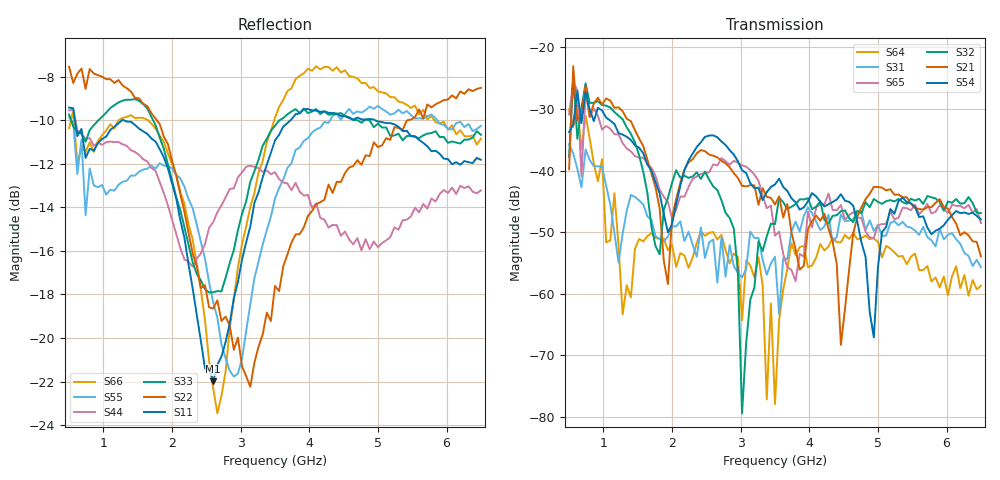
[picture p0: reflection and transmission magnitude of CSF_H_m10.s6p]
!Keysight Technologies,M9804A,MY58100912,A.14.10.03
!Date: Thursday, April 27, 2023 10:28:33
!Correction: S11(C  6-Port  )
!S12(C  6-Port  )
!S13(C  6-Port  )
!S14(C  6-Port  )
!S15(C  6-Port  )
!S16(C  6-Port  )
!S21(C  6-Port  )
!S22(C  6-Port  )
!S23(C  6-Port  )
!S24(C  6-Port  )
!S25(C  6-Port  )
!S26(C  6-Port  )
!S31(C  6-Port  )
!S32(C  6-Port  )
!S33(C  6-Port  )
!S34(C  6-Port  )
!S35(C  6-Port  )
!S36(C  6-Port  )
!S41(C  6-Port  )
!S42(C  6-Port  )
!S43(C  6-Port  )
!S44(C  6-Port  )
!S45(C  6-Port  )
!S46(C  6-Port  )
!S51(C  6-Port  )
!S52(C  6-Port  )
!S53(C  6-Port  )
!S54(C  6-Port  )
!S55(C  6-Port  )
!S56(C  6-Port  )
!S61(C  6-Port  )
!S62(C  6-Port  )
!S63(C  6-Port  )
!S64(C  6-Port  )
!S65(C  6-Port  )
!S66(C  6-Port  )
!S6P File: Measurement: :
# Hz S  RI  R 50
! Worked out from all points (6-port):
!   101 points, 500 MHz to 6.5 GHz, reference 50 ohm
!   strongest paths, dB at 500 MHz, 2 GHz, 3.5 GHz, 5 GHz, 6.5 GHz:
!     S54: -33.7, -48.7, -42.3, -55.8, -47.9
!     S21: -39.8, -47.7, -45.5, -42.7, -53.9
!     S32: -37.8, -42.0, -48.7, -45.1, -46.9
!     S65: -30.9, -47.8, -50.6, -48.8, -48.5
!     S31: -35.7, -49.1, -54.0, -48.8, -55.7
!     S64: -30.0, -52.0, -77.9, -51.6, -58.7
!   lowest |S11| = -22.0 dB at 2.6 GHz (marker M1), VSWR 1.17, Z = 42.9 + j1.93 ohm
!   |S11| at or under -10 dB: 585.7 MHz to 1.273 GHz (687.5 MHz wide, 74 % of centre); 1.293 GHz to 3.728 GHz (2.434 GHz wide, 97 % of centre); 4.958 GHz to end of sweep
